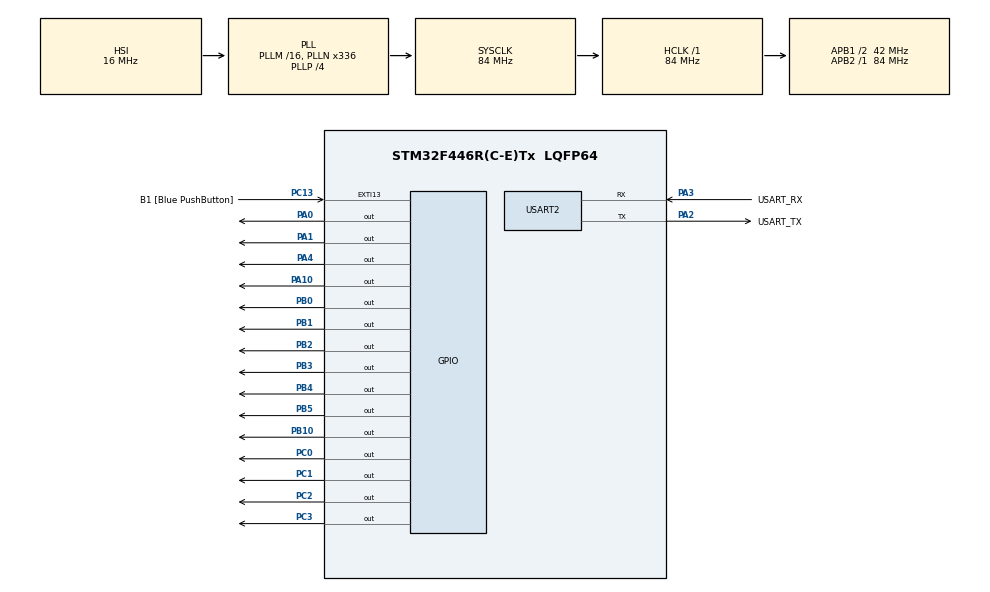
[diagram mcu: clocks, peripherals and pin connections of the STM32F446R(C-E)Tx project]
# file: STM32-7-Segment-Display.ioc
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Mcu.Family=STM32F4
Mcu.Name=STM32F446R(C-E)Tx
Mcu.Package=LQFP64
NVIC.PriorityGroup=NVIC_PRIORITYGROUP_0
PA0-WKUP.Signal=GPIO_Output
PA1.Signal=GPIO_Output
PA10.Signal=GPIO_Output
PA13.GPIO_Label=TMS
PA13.Mode=Serial_Wire
PA13.Signal=SYS_JTMS-SWDIO
PA14.GPIO_Label=TCK
PA14.Mode=Serial_Wire
PA14.Signal=SYS_JTCK-SWCLK
PA2.GPIO_Label=USART_TX
PA2.Mode=Asynchronous
PA2.Signal=USART2_TX
PA3.GPIO_Label=USART_RX
PA3.Mode=Asynchronous
PA3.Signal=USART2_RX
PA4.Signal=GPIO_Output
PB0.Signal=GPIO_Output
PB1.PinState=GPIO_PIN_SET
PB1.Signal=GPIO_Output
PB10.PinState=GPIO_PIN_SET
PB10.Signal=GPIO_Output
PB2.PinState=GPIO_PIN_SET
PB2.Signal=GPIO_Output
PB3.Signal=GPIO_Output
PB4.Signal=GPIO_Output
PB5.Signal=GPIO_Output
PC0.Signal=GPIO_Output
PC1.Signal=GPIO_Output
PC13.GPIO_Label=B1 [Blue PushButton]
PC13.GPIO_ModeDefaultEXTI=GPIO_MODE_IT_FALLING
PC13.Signal=GPXTI13
PC14-OSC32_IN.Mode=LSE-External-Oscillator
PC14-OSC32_IN.Signal=RCC_OSC32_IN
PC15-OSC32_OUT.Mode=LSE-External-Oscillator
PC15-OSC32_OUT.Signal=RCC_OSC32_OUT
PC2.Signal=GPIO_Output
PC3.Signal=GPIO_Output
PH0-OSC_IN.Mode=HSE-External-Oscillator
PH0-OSC_IN.Signal=RCC_OSC_IN
PH1-OSC_OUT.Mode=HSE-External-Oscillator
PH1-OSC_OUT.Signal=RCC_OSC_OUT
ProjectManager.HeapSize=0x200
ProjectManager.StackSize=0x400
ProjectManager.TargetToolchain=STM32CubeIDE
RCC.48MHZClocksFreq_Value=84000000
RCC.AHBFreq_Value=84000000
RCC.APB1CLKDivider=RCC_HCLK_DIV2
RCC.APB1Freq_Value=42000000
RCC.APB1TimFreq_Value=84000000
RCC.APB2Freq_Value=84000000
RCC.APB2TimFreq_Value=84000000
RCC.CortexFreq_Value=84000000
RCC.FLatency-AdvancedSettings=FLASH_LATENCY_2
RCC.HCLKFreq_Value=84000000
RCC.HSE_VALUE=8000000
RCC.HSI_VALUE=16000000
RCC.PLLN=336
RCC.PLLP=RCC_PLLP_DIV4
RCC.SYSCLKFreq_VALUE=84000000
RCC.SYSCLKSource=RCC_SYSCLKSOURCE_PLLCLK
RCC.USBFreq_Value=168000000
RCC.VCOOutputFreq_Value=336000000
USART2.VirtualMode=VM_ASYNC
board=NUCLEO-F446RE

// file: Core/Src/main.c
/* USER CODE BEGIN Header */
/**
  ******************************************************************************
  * @file           : main.c
  * @brief          : Main program body
  ******************************************************************************
  * @attention
  *
  * Copyright (c) 2026 STMicroelectronics.
  * All rights reserved.
  *
  * This software is licensed under terms that can be found in the LICENSE file
  * in the root directory of this software component.
  * If no LICENSE file comes with this software, it is provided AS-IS.
  *
  ******************************************************************************
  */
/* USER CODE END Header */
#include "main.h"

/* USER CODE BEGIN Includes */
#include <stdint.h>
/* USER CODE END Includes */

UART_HandleTypeDef huart2;

/* USER CODE BEGIN PV */
int currentNumber = 0;
uint8_t lastButtonState = GPIO_PIN_SET;

typedef struct {
    GPIO_TypeDef *port;
    uint16_t pin;
} PinDef;

void allDigitsOff(void);
void setSegments(uint8_t pattern);
void displayNumber(int value);

/* Segment order: A, B, C, D, E, F, G, DP */
PinDef segPins[8] = {
    {GPIOA, GPIO_PIN_0},
    {GPIOA, GPIO_PIN_1},
    {GPIOA, GPIO_PIN_4},
    {GPIOB, GPIO_PIN_0},
    {GPIOC, GPIO_PIN_1},
    {GPIOC, GPIO_PIN_0},
    {GPIOC, GPIO_PIN_2},
    {GPIOC, GPIO_PIN_3}
};

PinDef digitPins[4] = {
    {GPIOA, GPIO_PIN_10},   // D2 -> Digit 1
    {GPIOB, GPIO_PIN_3},    // D3 -> Digit 2
    {GPIOB, GPIO_PIN_5},    // D4 -> Digit 3
    {GPIOB, GPIO_PIN_4}     // D5 -> Digit 4
};

uint8_t numbers[10] = {
    0b11111100,
    0b01100000,
    0b11011010,
    0b11110010,
    0b01100110,
    0b10110110,
    0b10111110,
    0b11100000,
    0b11111110,
    0b11110110
};

/* USER CODE END PV */

void SystemClock_Config(void);
static void MX_GPIO_Init(void);
static void MX_USART2_UART_Init(void);

int main(void)
{

  /* MCU Configuration--------------------------------------------------------*/

  /* Reset of all peripherals, Initializes the Flash interface and the Systick. */
  HAL_Init();

  /* Configure the system clock */
  SystemClock_Config();

  /* Initialize all configured peripherals */
  MX_GPIO_Init();
  MX_USART2_UART_Init();

  /* Infinite loop */
  while (1)
  {

    /* USER CODE BEGIN 3 */
	  uint8_t buttonState = HAL_GPIO_ReadPin(GPIOC, GPIO_PIN_13);

	  // Button on Nucleo is active LOW:
	  // not pressed = HIGH, pressed = LOW
	  if (lastButtonState == GPIO_PIN_SET && buttonState == GPIO_PIN_RESET) {
		  currentNumber++;

		         if (currentNumber > 9999)
		         {
		             currentNumber = 0;
		         }

		         HAL_Delay(1); // debounce delay
		     }

		     lastButtonState = buttonState;

		     displayNumber(currentNumber);

	  if (currentNumber > 10) {
		  currentNumber++;

		  HAL_Delay(10);
	  }

	  if (currentNumber > 9999) {
		  currentNumber = 0;
	  }

  }
  /* USER CODE END 3 */
}

void SystemClock_Config(void)
{
  RCC_OscInitTypeDef RCC_OscInitStruct = {0};
  RCC_ClkInitTypeDef RCC_ClkInitStruct = {0};

  /** Configure the main internal regulator output voltage
  */
  __HAL_RCC_PWR_CLK_ENABLE();
  __HAL_PWR_VOLTAGESCALING_CONFIG(PWR_REGULATOR_VOLTAGE_SCALE3);

  /** Initializes the RCC Oscillators according to the specified parameters
  * in the RCC_OscInitTypeDef structure.
  */
  RCC_OscInitStruct.OscillatorType = RCC_OSCILLATORTYPE_HSI;
  RCC_OscInitStruct.HSIState = RCC_HSI_ON;
  RCC_OscInitStruct.HSICalibrationValue = RCC_HSICALIBRATION_DEFAULT;
  RCC_OscInitStruct.PLL.PLLState = RCC_PLL_ON;
  RCC_OscInitStruct.PLL.PLLSource = RCC_PLLSOURCE_HSI;
  RCC_OscInitStruct.PLL.PLLM = 16;
  RCC_OscInitStruct.PLL.PLLN = 336;
  RCC_OscInitStruct.PLL.PLLP = RCC_PLLP_DIV4;
  RCC_OscInitStruct.PLL.PLLQ = 2;
  RCC_OscInitStruct.PLL.PLLR = 2;
  if (HAL_RCC_OscConfig(&RCC_OscInitStruct) != HAL_OK)
  {
    Error_Handler();
  }

  /** Initializes the CPU, AHB and APB buses clocks
  */
  RCC_ClkInitStruct.ClockType = RCC_CLOCKTYPE_HCLK|RCC_CLOCKTYPE_SYSCLK
                              |RCC_CLOCKTYPE_PCLK1|RCC_CLOCKTYPE_PCLK2;
  RCC_ClkInitStruct.SYSCLKSource = RCC_SYSCLKSOURCE_PLLCLK;
  RCC_ClkInitStruct.AHBCLKDivider = RCC_SYSCLK_DIV1;
  RCC_ClkInitStruct.APB1CLKDivider = RCC_HCLK_DIV2;
  RCC_ClkInitStruct.APB2CLKDivider = RCC_HCLK_DIV1;

  if (HAL_RCC_ClockConfig(&RCC_ClkInitStruct, FLASH_LATENCY_2) != HAL_OK)
  {
    Error_Handler();
  }
}

static void MX_USART2_UART_Init(void)
{

  huart2.Instance = USART2;
  huart2.Init.BaudRate = 115200;
  huart2.Init.WordLength = UART_WORDLENGTH_8B;
  huart2.Init.StopBits = UART_STOPBITS_1;
  huart2.Init.Parity = UART_PARITY_NONE;
  huart2.Init.Mode = UART_MODE_TX_RX;
  huart2.Init.HwFlowCtl = UART_HWCONTROL_NONE;
  huart2.Init.OverSampling = UART_OVERSAMPLING_16;
  if (HAL_UART_Init(&huart2) != HAL_OK)
  {
    Error_Handler();
  }

}

static void MX_GPIO_Init(void)
{
  GPIO_InitTypeDef GPIO_InitStruct = {0};

  /* GPIO Ports Clock Enable */
  __HAL_RCC_GPIOC_CLK_ENABLE();
  __HAL_RCC_GPIOH_CLK_ENABLE();
  __HAL_RCC_GPIOA_CLK_ENABLE();
  __HAL_RCC_GPIOB_CLK_ENABLE();

  /*Configure GPIO pin Output Level */
  HAL_GPIO_WritePin(GPIOC, GPIO_PIN_0|GPIO_PIN_1|GPIO_PIN_2|GPIO_PIN_3, GPIO_PIN_RESET);

  /*Configure GPIO pin Output Level */
  HAL_GPIO_WritePin(GPIOA, GPIO_PIN_0|GPIO_PIN_1|GPIO_PIN_4|GPIO_PIN_10, GPIO_PIN_RESET);

  /*Configure GPIO pin Output Level */
  HAL_GPIO_WritePin(GPIOB, GPIO_PIN_0|GPIO_PIN_3|GPIO_PIN_4|GPIO_PIN_5, GPIO_PIN_RESET);

  /*Configure GPIO pin Output Level */
  HAL_GPIO_WritePin(GPIOB, GPIO_PIN_1|GPIO_PIN_2|GPIO_PIN_10, GPIO_PIN_SET);

  /*Configure GPIO pin : B1_Pin */
  GPIO_InitStruct.Pin = B1_Pin;
  GPIO_InitStruct.Mode = GPIO_MODE_IT_FALLING;
  GPIO_InitStruct.Pull = GPIO_NOPULL;
  HAL_GPIO_Init(B1_GPIO_Port, &GPIO_InitStruct);

  /*Configure GPIO pins : PC0 PC1 PC2 PC3 */
  GPIO_InitStruct.Pin = GPIO_PIN_0|GPIO_PIN_1|GPIO_PIN_2|GPIO_PIN_3;
  GPIO_InitStruct.Mode = GPIO_MODE_OUTPUT_PP;
  GPIO_InitStruct.Pull = GPIO_NOPULL;
  GPIO_InitStruct.Speed = GPIO_SPEED_FREQ_LOW;
  HAL_GPIO_Init(GPIOC, &GPIO_InitStruct);

  /*Configure GPIO pins : PA0 PA1 PA4 PA10 */
  GPIO_InitStruct.Pin = GPIO_PIN_0|GPIO_PIN_1|GPIO_PIN_4|GPIO_PIN_10;
  GPIO_InitStruct.Mode = GPIO_MODE_OUTPUT_PP;
  GPIO_InitStruct.Pull = GPIO_NOPULL;
  GPIO_InitStruct.Speed = GPIO_SPEED_FREQ_LOW;
  HAL_GPIO_Init(GPIOA, &GPIO_InitStruct);

  /*Configure GPIO pins : PB0 PB1 PB2 PB10
                           PB3 PB4 PB5 */
  GPIO_InitStruct.Pin = GPIO_PIN_0|GPIO_PIN_1|GPIO_PIN_2|GPIO_PIN_10
                          |GPIO_PIN_3|GPIO_PIN_4|GPIO_PIN_5;
  GPIO_InitStruct.Mode = GPIO_MODE_OUTPUT_PP;
  GPIO_InitStruct.Pull = GPIO_NOPULL;
  GPIO_InitStruct.Speed = GPIO_SPEED_FREQ_LOW;
  HAL_GPIO_Init(GPIOB, &GPIO_InitStruct);

}

/* USER CODE BEGIN 4 */
void allDigitsOff(void)
{
    for (int i = 0; i < 4; i++) {
        HAL_GPIO_WritePin(digitPins[i].port, digitPins[i].pin, GPIO_PIN_SET);
    }
}

void setSegments(uint8_t pattern)
{
    for (int i = 0; i < 8; i++) {
        if (pattern & (1 << (7 - i))) {
            HAL_GPIO_WritePin(segPins[i].port, segPins[i].pin, GPIO_PIN_SET);
        } else {
            HAL_GPIO_WritePin(segPins[i].port, segPins[i].pin, GPIO_PIN_RESET);
        }
    }
}

void displayNumber(int value)
{
    int digits[4];

    if (value < 0) value = 0;
    if (value > 9999) value = 9999;

    digits[0] = value / 1000;
    digits[1] = (value / 100) % 10;
    digits[2] = (value / 10) % 10;
    digits[3] = value % 10;

    for (int i = 0; i < 4; i++) {
        allDigitsOff();
        setSegments(numbers[digits[i]]);

        // Common cathode digit ON = LOW
        HAL_GPIO_WritePin(digitPins[i].port, digitPins[i].pin, GPIO_PIN_RESET);

        HAL_Delay(2);
    }
}

/* USER CODE END 4 */

void Error_Handler(void)
{
  __disable_irq();
  while (1)
  {
  }
}
